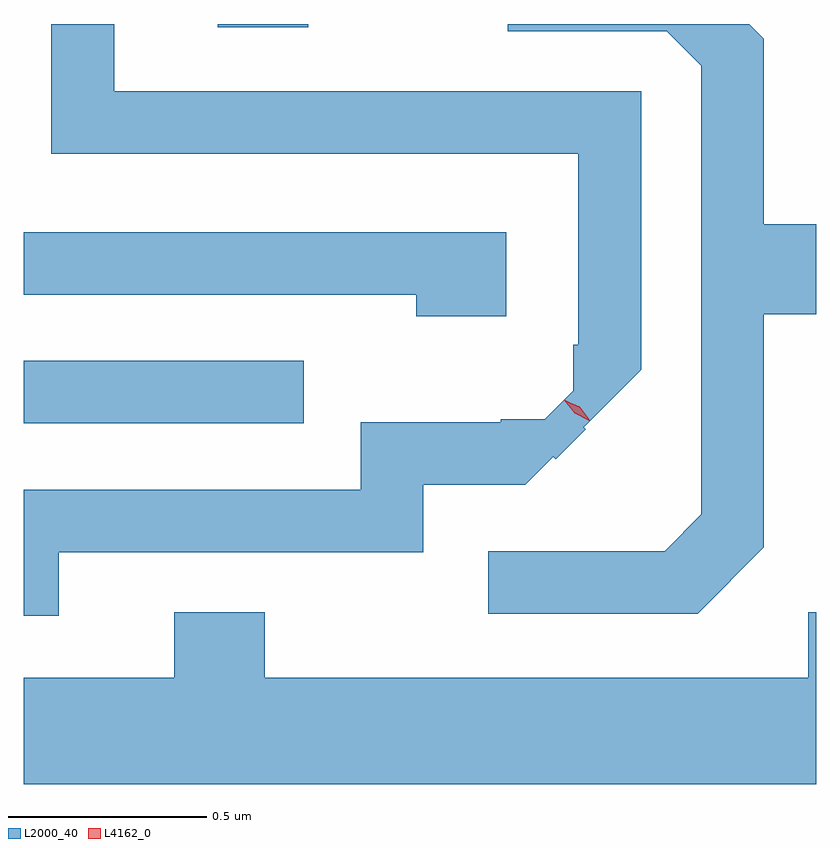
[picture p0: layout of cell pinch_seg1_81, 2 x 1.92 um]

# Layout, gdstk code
import gdstk
lib = gdstk.Library(unit=1e-6, precision=1e-09)
def R(c, l, rs):  # rectangles x0, y0, x1, y1
    for r in rs: c.add(gdstk.rectangle(r[:2], r[2:], *l))
def P(c, l, *ps):  # polygons
    for p in ps: c.add(gdstk.Polygon(p, *l))
L2000_40 = (2000, 40)
L4162_0 = (4162, 0)

pinch_seg1_81 = lib.new_cell('pinch_seg1_81')
R(pinch_seg1_81, L2000_40, [(1297.881,962.646,1298.588,962.804), (1298.371,963.646,1298.599,963.654)])
P(pinch_seg1_81, L2000_40, [(1299.749,962.334),(1299.749,962.921),(1299.881,962.921),(1299.881,963.149),(1299.749,963.149),(1299.749,963.617),(1299.712,963.654),(1299.103,963.654),(1299.103,963.636),(1299.504,963.636),(1299.591,963.549),(1299.591,962.417),(1299.499,962.324),(1299.053,962.324),(1299.053,962.166),(1299.582,962.166)],
  [(1297.969,962.321),(1298.889,962.321),(1298.889,962.491),(1299.147,962.491),(1299.217,962.562),(1299.223,962.555),(1299.299,962.631),(1299.294,962.636),(1299.439,962.782),(1299.439,963.484),(1298.109,963.484),(1298.109,963.654),(1297.951,963.654),(1297.951,963.326),(1299.281,963.326),(1299.281,962.845),(1299.268,962.845),(1299.268,962.728),(1299.196,962.656),(1299.085,962.656),(1299.085,962.649),(1298.731,962.649),(1298.731,962.479),(1297.881,962.479),(1297.881,962.161),(1297.969,962.161)],
  [(1299.099,963.129),(1297.881,963.129),(1297.881,962.971),(1298.871,962.971),(1298.871,962.916),(1299.099,962.916)],
  [(1299.881,962.169),(1299.861,962.169),(1299.861,962.004),(1298.489,962.004),(1298.489,962.169),(1298.261,962.169),(1298.261,962.004),(1297.881,962.004),(1297.881,961.736),(1299.881,961.736)])
P(pinch_seg1_81, L4162_0, [(1299.308,962.653),(1299.271,962.672),(1299.245,962.705),(1299.245,962.706),(1299.245,962.706),(1299.283,962.687),(1299.309,962.654),(1299.309,962.653)],
  [(1299.304,962.658),(1299.272,962.673),(1299.25,962.702),(1299.25,962.702),(1299.251,962.702),(1299.284,962.688),(1299.305,962.659),(1299.305,962.658)])

lib.write_gds('pinch_seg1_81.gds')
